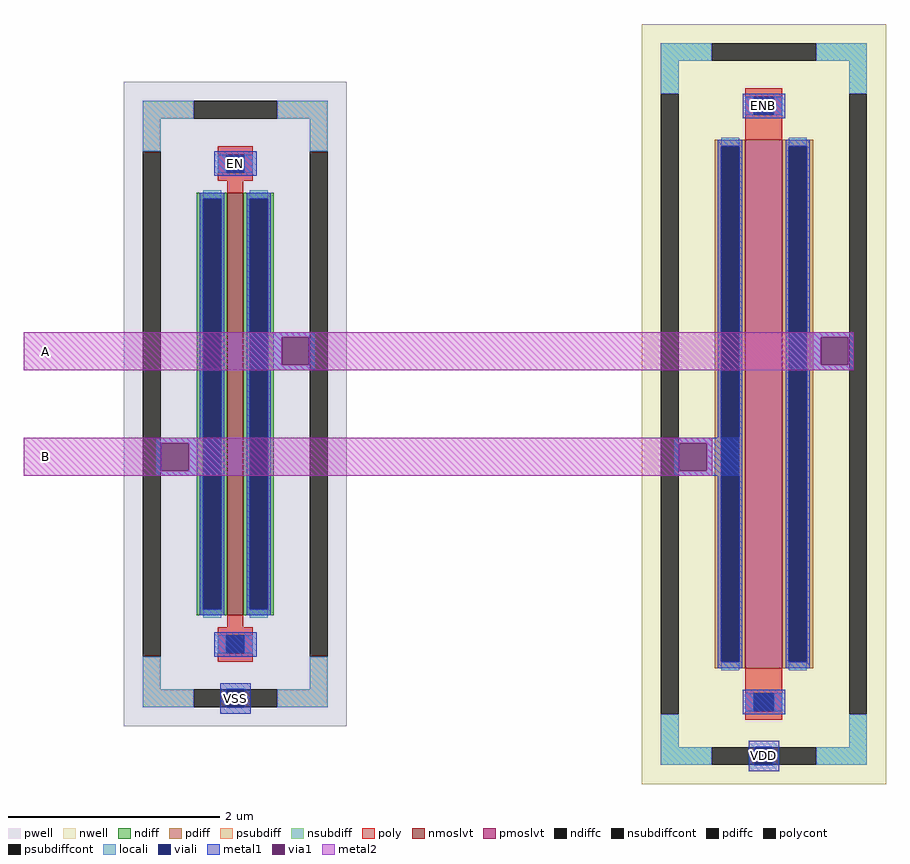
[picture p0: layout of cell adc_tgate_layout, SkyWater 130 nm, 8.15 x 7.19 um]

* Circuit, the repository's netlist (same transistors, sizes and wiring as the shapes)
* NGSPICE file created from adc_tgate_layout.ext - technology: sky130A

.subckt tg_nfet_lvt B D S G
X0 S G D B sky130_fd_pr__nfet_01v8_lvt ad=1.16 pd=8.58 as=1.16 ps=8.58 w=4 l=0.15
.ends

.subckt tg_pfet_lvt B D S G
X0 S G D B sky130_fd_pr__pfet_01v8_lvt ad=1.45 pd=10.58 as=1.45 ps=10.58 w=5 l=0.35
.ends

.subckt adc_tgate_layout A B EN ENB VDD VSS
XXN VSS B A EN tg_nfet_lvt
XXP VDD B A ENB tg_pfet_lvt
.ends

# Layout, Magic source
magic
tech sky130A
magscale 1 2
<< viali >>
rect 783 626 817 660
rect 1783 517 1817 551
<< metal1 >>
rect 1760 1741 1840 1787
rect 760 1632 840 1678
rect 824 1326 950 1336
rect 824 1274 888 1326
rect 940 1274 950 1326
rect 824 1264 950 1274
rect 1844 1326 1970 1336
rect 1844 1274 1908 1326
rect 1960 1274 1970 1326
rect 1844 1264 1970 1274
rect 650 1126 776 1136
rect 650 1074 660 1126
rect 712 1074 776 1126
rect 650 1064 776 1074
rect 1630 1126 1756 1136
rect 1630 1074 1640 1126
rect 1692 1074 1756 1126
rect 1630 1064 1756 1074
rect 760 722 840 768
rect 771 660 829 672
rect 771 626 783 660
rect 817 626 829 660
rect 771 614 829 626
rect 1760 613 1840 659
rect 1771 551 1829 563
rect 1771 517 1783 551
rect 1817 517 1829 551
rect 1771 505 1829 517
<< via1 >>
rect 888 1274 940 1326
rect 1908 1274 1960 1326
rect 660 1074 712 1126
rect 1640 1074 1692 1126
<< metal2 >>
rect 400 1326 1970 1336
rect 400 1274 888 1326
rect 940 1274 1908 1326
rect 1960 1274 1970 1326
rect 400 1264 1970 1274
rect 400 1126 1702 1136
rect 400 1074 660 1126
rect 712 1074 1640 1126
rect 1692 1074 1702 1126
rect 400 1064 1702 1074
use tg_nfet_lvt  XN
transform 1 0 800 0 1 1200
box -211 -610 211 610
use tg_pfet_lvt  XP
transform 1 0 1800 0 1 1200
box -231 -719 231 719
<< labels >>
rlabel metal1 760 1632 840 1678 0 EN
port 3 nsew signal bidirectional
rlabel metal1 771 614 829 672 0 VSS
port 6 nsew ground bidirectional
rlabel metal1 1760 1741 1840 1787 0 ENB
port 4 nsew signal bidirectional
rlabel metal1 1771 505 1829 563 0 VDD
port 5 nsew power bidirectional
rlabel metal2 400 1264 480 1336 0 A
port 1 nsew signal bidirectional
rlabel metal2 400 1064 480 1136 0 B
port 2 nsew signal bidirectional
<< end >>

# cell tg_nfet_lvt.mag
magic
tech sky130A
magscale 1 2
<< pwell >>
rect -211 -610 211 610
<< nmoslvt >>
rect -15 -400 15 400
<< ndiff >>
rect -73 388 -15 400
rect -73 -388 -61 388
rect -27 -388 -15 388
rect -73 -400 -15 -388
rect 15 388 73 400
rect 15 -388 27 388
rect 61 -388 73 388
rect 15 -400 73 -388
<< ndiffc >>
rect -61 -388 -27 388
rect 27 -388 61 388
<< psubdiff >>
rect -175 540 -79 574
rect 79 540 175 574
rect -175 478 -141 540
rect 141 478 175 540
rect -175 -540 -141 -478
rect 141 -540 175 -478
rect -175 -574 -79 -540
rect 79 -574 175 -540
<< psubdiffcont >>
rect -79 540 79 574
rect -175 -478 -141 478
rect 141 -478 175 478
rect -79 -574 79 -540
<< poly >>
rect -33 472 33 488
rect -33 438 -17 472
rect 17 438 33 472
rect -33 422 33 438
rect -15 400 15 422
rect -15 -422 15 -400
rect -33 -438 33 -422
rect -33 -472 -17 -438
rect 17 -472 33 -438
rect -33 -488 33 -472
<< polycont >>
rect -17 438 17 472
rect -17 -472 17 -438
<< locali >>
rect -175 540 -79 574
rect 79 540 175 574
rect -175 478 -141 540
rect 141 478 175 540
rect -33 438 -17 472
rect 17 438 33 472
rect -61 388 -27 404
rect -61 -404 -27 -388
rect 27 388 61 404
rect 27 -404 61 -388
rect -33 -472 -17 -438
rect 17 -472 33 -438
rect -175 -540 -141 -478
rect 141 -540 175 -478
rect -175 -574 -79 -540
rect 79 -574 175 -540
<< viali >>
rect -17 438 17 472
rect -61 -388 -27 388
rect 27 -388 61 388
rect -17 -472 17 -438
<< metal1 >>
rect -29 472 29 478
rect -29 438 -17 472
rect 17 438 29 472
rect -29 432 29 438
rect -67 388 -21 400
rect -67 -388 -61 388
rect -27 -388 -21 388
rect -67 -400 -21 -388
rect 21 388 67 400
rect 21 -388 27 388
rect 61 -388 67 388
rect 21 -400 67 -388
rect -29 -438 29 -432
rect -29 -472 -17 -438
rect 17 -472 29 -438
rect -29 -478 29 -472
<< labels >>
rlabel psubdiffcont 0 -557 0 -557 0 B
port 1 nsew
rlabel ndiffc -44 0 -44 0 0 D
port 2 nsew
rlabel ndiffc 44 0 44 0 0 S
port 3 nsew
rlabel polycont 0 455 0 455 0 G
port 4 nsew
<< properties >>
string FIXED_BBOX -158 -557 158 557
<< end >>

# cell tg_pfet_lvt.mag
magic
tech sky130A
magscale 1 2
<< nwell >>
rect -231 -719 231 719
<< pmoslvt >>
rect -35 -500 35 500
<< pdiff >>
rect -93 488 -35 500
rect -93 -488 -81 488
rect -47 -488 -35 488
rect -93 -500 -35 -488
rect 35 488 93 500
rect 35 -488 47 488
rect 81 -488 93 488
rect 35 -500 93 -488
<< pdiffc >>
rect -81 -488 -47 488
rect 47 -488 81 488
<< nsubdiff >>
rect -195 649 -99 683
rect 99 649 195 683
rect -195 587 -161 649
rect 161 587 195 649
rect -195 -649 -161 -587
rect 161 -649 195 -587
rect -195 -683 -99 -649
rect 99 -683 195 -649
<< nsubdiffcont >>
rect -99 649 99 683
rect -195 -587 -161 587
rect 161 -587 195 587
rect -99 -683 99 -649
<< poly >>
rect -35 581 35 597
rect -35 547 -19 581
rect 19 547 35 581
rect -35 500 35 547
rect -35 -547 35 -500
rect -35 -581 -19 -547
rect 19 -581 35 -547
rect -35 -597 35 -581
<< polycont >>
rect -19 547 19 581
rect -19 -581 19 -547
<< locali >>
rect -195 649 -99 683
rect 99 649 195 683
rect -195 587 -161 649
rect 161 587 195 649
rect -35 547 -19 581
rect 19 547 35 581
rect -81 488 -47 504
rect -81 -504 -47 -488
rect 47 488 81 504
rect 47 -504 81 -488
rect -35 -581 -19 -547
rect 19 -581 35 -547
rect -195 -649 -161 -587
rect 161 -649 195 -587
rect -195 -683 -99 -649
rect 99 -683 195 -649
<< viali >>
rect -19 547 19 581
rect -81 -488 -47 488
rect 47 -488 81 488
rect -19 -581 19 -547
<< metal1 >>
rect -31 581 31 587
rect -31 547 -19 581
rect 19 547 31 581
rect -31 541 31 547
rect -87 488 -41 500
rect -87 -488 -81 488
rect -47 -488 -41 488
rect -87 -500 -41 -488
rect 41 488 87 500
rect 41 -488 47 488
rect 81 -488 87 488
rect 41 -500 87 -488
rect -31 -547 31 -541
rect -31 -581 -19 -547
rect 19 -581 31 -547
rect -31 -587 31 -581
<< labels >>
rlabel nsubdiffcont 0 -666 0 -666 0 B
port 1 nsew
rlabel pdiffc -64 0 -64 0 0 D
port 2 nsew
rlabel pdiffc 64 0 64 0 0 S
port 3 nsew
rlabel polycont 0 564 0 564 0 G
port 4 nsew
<< properties >>
string FIXED_BBOX -178 -666 178 666
<< end >>
